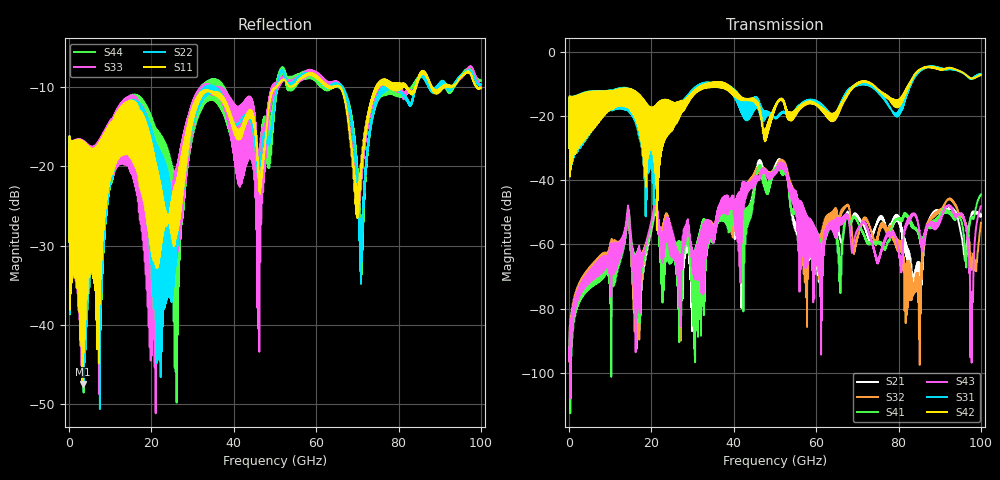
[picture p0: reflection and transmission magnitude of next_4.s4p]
# Hz S RI R 50
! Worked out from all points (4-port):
!   10000 points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, 10 MHz to 100 GHz, reference 50 ohm
!   strongest paths, dB at 10 MHz, 25.01 GHz, 50.01 GHz, 75.01 GHz, 100 GHz:
!     S42: -29.9, -15.8, -16.8, -11.6, -7.2
!     S31: -29.9, -18.2, -20.6, -12.6, -6.9
!     S43: -95.7, -56.4, -36.9, -65.4, -48.1
!     S41: -95.7, -56.0, -36.2, -59.7, -44.4
!     S32: -95.8, -55.9, -36.7, -57.0, -53.2
!     S21: -95.7, -56.9, -35.4, -52.4, -51.2
!   lowest |S11| = -47.5 dB at 3.27 GHz (marker M1), VSWR 1.01, Z = 50.3 + j0.332 ohm
!   |S11| at or under -10 dB: start of sweep to 50.25 GHz; 65.92 GHz to 74.54 GHz (8.622 GHz wide, 12.3 % of centre); 88.1 GHz to 90.39 GHz (2.287 GHz wide, 2.56 % of centre)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
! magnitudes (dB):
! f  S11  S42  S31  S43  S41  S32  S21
! 10 MHz  -29.5  -29.9  -29.9  -95.7  -95.7  -95.8  -95.7
! 3.27 GHz  -47.5  -24.8  -22.4  -71.7  -73.2  -70.5  -71.9
! 51.61 GHz  -9.2  -14.7  -19.0  -35.0  -36.9  -33.6  -34.0
! 61.19 GHz  -9.3  -17.5  -16.2  -78.3  -62.6  -59.8  -67.3
! 92.1 GHz  -9.8  -5.0  -5.4  -47.8  -50.2  -45.8  -49.2
! 97.68 GHz  -8.6  -8.2  -8.4  -75.6  -51.7  -65.3  -50.7
! 100 GHz  -10.1  -7.2  -6.9  -48.1  -44.4  -53.2  -51.2
